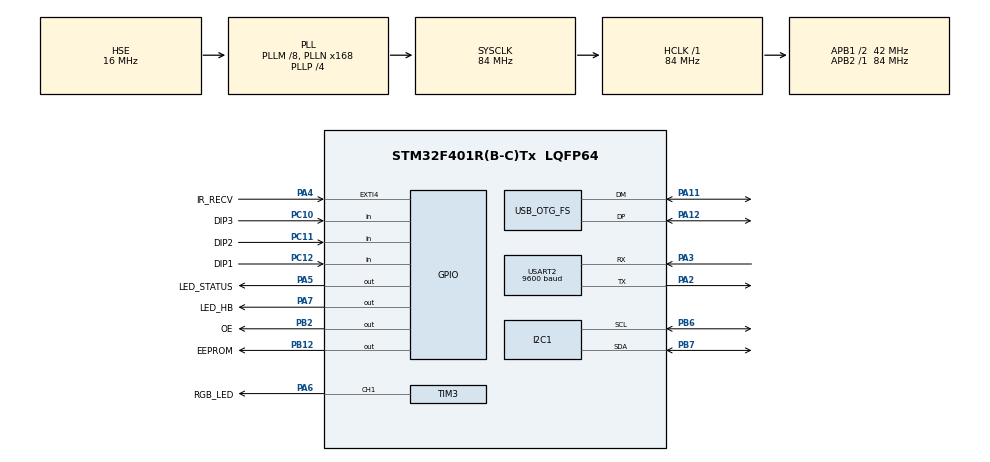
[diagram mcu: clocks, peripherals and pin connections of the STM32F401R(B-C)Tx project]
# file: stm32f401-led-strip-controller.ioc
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Dma.Request0=TIM3_CH1/TRIG
Dma.TIM3_CH1/TRIG.0.Direction=DMA_MEMORY_TO_PERIPH
Dma.TIM3_CH1/TRIG.0.FIFOMode=DMA_FIFOMODE_DISABLE
Dma.TIM3_CH1/TRIG.0.Instance=DMA1_Stream4
Dma.TIM3_CH1/TRIG.0.MemDataAlignment=DMA_MDATAALIGN_HALFWORD
Dma.TIM3_CH1/TRIG.0.MemInc=DMA_MINC_ENABLE
Dma.TIM3_CH1/TRIG.0.Mode=DMA_NORMAL
Dma.TIM3_CH1/TRIG.0.PeriphDataAlignment=DMA_PDATAALIGN_HALFWORD
Dma.TIM3_CH1/TRIG.0.PeriphInc=DMA_PINC_DISABLE
Dma.TIM3_CH1/TRIG.0.Priority=DMA_PRIORITY_HIGH
FREERTOS.Mutexes01=stripShowMutex,Dynamic,NULL
FREERTOS.Tasks01=defaultTask,24,384,StartDefaultTask,Default,NULL,Dynamic,NULL,NULL;heartbeatTask,8,128,StartHeartbeatTask,Default,NULL,Dynamic,NULL,NULL;stripShowTask,32,384,StartStripShowTask,Default,NULL,Dynamic,NULL,NULL
FREERTOS.configUSE_NEWLIB_REENTRANT=1
Mcu.Family=STM32F4
Mcu.Name=STM32F401R(B-C)Tx
Mcu.Package=LQFP64
NVIC.DMA1_Stream4_IRQn=true\:5\:0\:false\:false\:true\:true\:false\:true\:true
NVIC.EXTI4_IRQn=true\:5\:0\:false\:false\:true\:true\:true\:true\:true
NVIC.OTG_FS_IRQn=true\:5\:0\:false\:false\:true\:true\:false\:true\:true
NVIC.PriorityGroup=NVIC_PRIORITYGROUP_4
NVIC.TIM4_IRQn=true\:15\:0\:false\:false\:true\:false\:false\:true\:true
NVIC.TimeBase=TIM4_IRQn
NVIC.TimeBaseIP=TIM4
NVIC.USART2_IRQn=true\:5\:0\:false\:false\:true\:true\:true\:true\:true
PA11.Mode=Device_Only
PA11.Signal=USB_OTG_FS_DM
PA12.Mode=Device_Only
PA12.Signal=USB_OTG_FS_DP
PA13.Mode=Trace_Asynchronous_SW
PA13.Signal=SYS_JTMS-SWDIO
PA14.Mode=Trace_Asynchronous_SW
PA14.Signal=SYS_JTCK-SWCLK
PA2.Mode=Asynchronous
PA2.Signal=USART2_TX
PA3.Mode=Asynchronous
PA3.Signal=USART2_RX
PA4.GPIO_Label=IR_RECV
PA4.GPIO_ModeDefaultEXTI=GPIO_MODE_IT_FALLING
PA4.Signal=GPXTI4
PA5.GPIO_Label=LED_STATUS
PA5.Signal=GPIO_Output
PA6.GPIO_Label=RGB_LED
PA6.Signal=S_TIM3_CH1
PA7.GPIO_Label=LED_HB
PA7.Signal=GPIO_Output
PB12.GPIO_Label=EEPROM
PB12.Signal=GPIO_Output
PB2.GPIO_Label=OE
PB2.Signal=GPIO_Output
PB3.Mode=Trace_Asynchronous_SW
PB3.Signal=SYS_JTDO-SWO
PB6.Mode=I2C
PB6.Signal=I2C1_SCL
PB7.Mode=I2C
PB7.Signal=I2C1_SDA
PC10.GPIO_Label=DIP3
PC10.Signal=GPIO_Input
PC11.GPIO_Label=DIP2
PC11.Signal=GPIO_Input
PC12.GPIO_Label=DIP1
PC12.Signal=GPIO_Input
PC14-OSC32_IN.Mode=LSE-External-Oscillator
PC14-OSC32_IN.Signal=RCC_OSC32_IN
PC15-OSC32_OUT.Mode=LSE-External-Oscillator
PC15-OSC32_OUT.Signal=RCC_OSC32_OUT
PH0\ -\ OSC_IN.Mode=HSE-External-Oscillator
PH0\ -\ OSC_IN.Signal=RCC_OSC_IN
PH1\ -\ OSC_OUT.Mode=HSE-External-Oscillator
PH1\ -\ OSC_OUT.Signal=RCC_OSC_OUT
ProjectManager.HeapSize=0x200
ProjectManager.StackSize=0x400
ProjectManager.TargetToolchain=STM32CubeIDE
RCC.48MHZClocksFreq_Value=48000000
RCC.AHBFreq_Value=84000000
RCC.APB1CLKDivider=RCC_HCLK_DIV2
RCC.APB1Freq_Value=42000000
RCC.APB1TimFreq_Value=84000000
RCC.APB2Freq_Value=84000000
RCC.APB2TimFreq_Value=84000000
RCC.CortexFreq_Value=84000000
RCC.HCLKFreq_Value=84000000
RCC.HSE_VALUE=16000000
RCC.HSI_VALUE=16000000
RCC.PLLM=8
RCC.PLLN=168
RCC.PLLP=RCC_PLLP_DIV4
RCC.PLLQ=7
RCC.RCC_RTC_Clock_SourceVirtual=RCC_RTCCLKSOURCE_LSE
RCC.SYSCLKFreq_VALUE=84000000
RCC.SYSCLKSource=RCC_SYSCLKSOURCE_PLLCLK
RCC.VCOOutputFreq_Value=336000000
SH.S_TIM3_CH1.0=TIM3_CH1,PWM Generation1 CH1
TIM1.Prescaler=84-1
TIM2.Prescaler=84-1
TIM3.Channel-PWM\ Generation1\ CH1=TIM_CHANNEL_1
TIM3.Period=105-1
TIM5.Prescaler=8400-1
USART2.BaudRate=9600
USART2.Mode=MODE_RX
USART2.VirtualMode=VM_ASYNC
USB_DEVICE.CLASS_NAME_FS=CDC
USB_DEVICE.VirtualMode=Cdc
USB_DEVICE.VirtualModeFS=Cdc_FS
USB_OTG_FS.VirtualMode=Device_Only
VP_FREERTOS_VS_CMSIS_V2.Mode=CMSIS_V2
VP_RTC_VS_RTC_Activate.Mode=RTC_Enabled
VP_SYS_VS_tim4.Mode=TIM4
VP_TIM1_VS_ClockSourceINT.Mode=Internal
VP_TIM2_VS_ClockSourceINT.Mode=Internal
VP_TIM3_VS_ClockSourceINT.Mode=Internal
VP_TIM5_VS_ClockSourceINT.Mode=Internal
VP_USB_DEVICE_VS_USB_DEVICE_CDC_FS.Mode=CDC_FS
board=custom

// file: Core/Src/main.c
/* USER CODE BEGIN Header */
/**
  ******************************************************************************
  * @file           : main.c
  * @author         : Joshua Butler, MD, MHI
  * @date           : 2023-07-02
  * @brief          : Main program body
  ******************************************************************************
  * @attention
  *
  * Copyright (c) 2023 STMicroelectronics.
  * Copyright (c) 2023 Joshua Butler.
  * All rights reserved.
  *
  * This software is licensed under terms that can be found in the LICENSE file
  * in the root directory of this software component.
  * If no LICENSE file comes with this software, it is provided AS-IS.
  *
  ******************************************************************************
  */
/* USER CODE END Header */
#include "main.h"
#include "cmsis_os.h"
#include "usb_device.h"

/* USER CODE BEGIN Includes */
#include "splash.h"
#include "led_strip.h"
#include "ssd1306.h"
#include "ring_buffer.h"
#include "i2c_wrapper.h"
#include "pcf8563.h"
#include "eeprom.h"
#include "ir_codes.h"
#include "led_strip_effect.h"

/* USER CODE END Includes */

/* USER CODE BEGIN PD */

// ring buffer size
#define CODE_BUFFER_SIZE 8
#define UART_RX_BUFFER_SIZE 256
#define IR_REMOTE_BUFFER_SIZE 16

// EEPROM Defines
#define EEPROM_SETTINGS_PAGE 0x00
#define EEPROM_SETTINGS_OFFSET 0x00

/* USER CODE END PD */

I2C_HandleTypeDef hi2c1;

RTC_HandleTypeDef hrtc;

TIM_HandleTypeDef htim1;
TIM_HandleTypeDef htim2;
TIM_HandleTypeDef htim3;
TIM_HandleTypeDef htim5;
DMA_HandleTypeDef hdma_tim3_ch1_trig;

UART_HandleTypeDef huart2;

/* Definitions for defaultTask */
osThreadId_t defaultTaskHandle;
const osThreadAttr_t defaultTask_attributes = {
    .name = "defaultTask",
    .stack_size = 384 * 4,
    .priority = (osPriority_t) osPriorityNormal,
};
/* Definitions for heartbeatTask */
osThreadId_t heartbeatTaskHandle;
const osThreadAttr_t heartbeatTask_attributes = {
    .name = "heartbeatTask",
    .stack_size = 128 * 4,
    .priority = (osPriority_t) osPriorityLow,
};
/* Definitions for stripShowTask */
osThreadId_t stripShowTaskHandle;
const osThreadAttr_t stripShowTask_attributes = {
    .name = "stripShowTask",
    .stack_size = 384 * 4,
    .priority = (osPriority_t) osPriorityAboveNormal,
};
/* Definitions for stripShowMutex */
osMutexId_t stripShowMutexHandle;
const osMutexAttr_t stripShowMutex_attributes = {
    .name = "stripShowMutex"
};
/* USER CODE BEGIN PV */

// External Variables
extern uint8_t gradient_palettes_list_size;

// data buffer

char lcd_buffer[64];

// LED Strip
uint8_t current_num_leds = 64;
led_strip_t led_strip;
led_strip_effect_t led_fx;
uint8_t led_fx_ready = 0;
uint8_t power_state = 1;

// IR Remote

uint32_t tempCode;
uint8_t bitIndex;
uint8_t cmd;
uint8_t cmdli;
uint32_t code;
uint32_t prevCode;
uint8_t codeReady;
uint32_t codeCmd;
uint8_t startIR;
uint8_t repeatCode;
uint8_t potentialRepeatCode;
uint8_t repeatCodeCount;
RingBuffer codeBuffer;

// UART
RingBuffer uartRxBuffer;
uint8_t uartRxData[2] = { 0 };

/* USER CODE END PV */

void SystemClock_Config(void);
static void MX_GPIO_Init(void);
static void MX_DMA_Init(void);
static void MX_RTC_Init(void);
static void MX_TIM2_Init(void);
static void MX_TIM3_Init(void);
static void MX_USART2_UART_Init(void);
static void MX_I2C1_Init(void);
static void MX_TIM1_Init(void);
static void MX_TIM5_Init(void);
void StartDefaultTask(void *argument);
void StartHeartbeatTask(void *argument);
void StartStripShowTask(void *argument);

int main(void)
{

    /* MCU Configuration--------------------------------------------------------*/

    /* Reset of all peripherals, Initializes the Flash interface and the Systick. */
    HAL_Init();

    /* Configure the system clock */
    SystemClock_Config();

    /* Initialize all configured peripherals */
    MX_GPIO_Init();
    MX_DMA_Init();
    MX_RTC_Init();
    MX_TIM2_Init();
    MX_TIM3_Init();
    MX_USART2_UART_Init();
    MX_I2C1_Init();
    MX_TIM1_Init();
    MX_TIM5_Init();
    /* USER CODE BEGIN 2 */

    HAL_RTC_Init(&hrtc);
    __HAL_RTC_WRITEPROTECTION_DISABLE(&hrtc);
    HAL_RTC_WaitForSynchro(&hrtc);
    __HAL_RTC_WRITEPROTECTION_ENABLE(&hrtc);

    if (ring_buffer_init(&uartRxBuffer, UART_RX_BUFFER_SIZE, sizeof(uint8_t)) == RING_BUFFER_MALLOC_FAILED) {
        Error_Handler();
    }

    if (ring_buffer_init(&codeBuffer, IR_REMOTE_BUFFER_SIZE, sizeof(uint32_t)) == RING_BUFFER_MALLOC_FAILED) {
        Error_Handler();
    }

    HAL_TIM_Base_Start(&htim1);
    HAL_TIM_Base_Start(&htim2);
    HAL_TIM_Base_Start(&htim5);

    __HAL_TIM_SET_COUNTER(&htim2, 0);

    HAL_GPIO_WritePin(OE_GPIO_Port, OE_Pin, GPIO_PIN_RESET);
    /* USER CODE END 2 */

    /* Init scheduler */
    osKernelInitialize();
    /* Create the mutex(es) */
    /* creation of stripShowMutex */
    stripShowMutexHandle = osMutexNew(&stripShowMutex_attributes);

    /* Create the thread(s) */
    /* creation of defaultTask */
    defaultTaskHandle = osThreadNew(StartDefaultTask, NULL, &defaultTask_attributes);

    /* creation of heartbeatTask */
    heartbeatTaskHandle = osThreadNew(StartHeartbeatTask, NULL, &heartbeatTask_attributes);

    /* creation of stripShowTask */
    stripShowTaskHandle = osThreadNew(StartStripShowTask, NULL, &stripShowTask_attributes);

    /* Start scheduler */
    osKernelStart();
    /* We should never get here as control is now taken by the scheduler */
    /* Infinite loop */
    while (1)
    {

    }
}

void SystemClock_Config(void)
{
    RCC_OscInitTypeDef RCC_OscInitStruct = { 0 };
    RCC_ClkInitTypeDef RCC_ClkInitStruct = { 0 };

    /** Configure the main internal regulator output voltage
    */
    __HAL_RCC_PWR_CLK_ENABLE();
    __HAL_PWR_VOLTAGESCALING_CONFIG(PWR_REGULATOR_VOLTAGE_SCALE2);

    /** Initializes the RCC Oscillators according to the specified parameters
    * in the RCC_OscInitTypeDef structure.
    */
    RCC_OscInitStruct.OscillatorType = RCC_OSCILLATORTYPE_HSE | RCC_OSCILLATORTYPE_LSE;
    RCC_OscInitStruct.HSEState = RCC_HSE_ON;
    RCC_OscInitStruct.LSEState = RCC_LSE_ON;
    RCC_OscInitStruct.PLL.PLLState = RCC_PLL_ON;
    RCC_OscInitStruct.PLL.PLLSource = RCC_PLLSOURCE_HSE;
    RCC_OscInitStruct.PLL.PLLM = 8;
    RCC_OscInitStruct.PLL.PLLN = 168;
    RCC_OscInitStruct.PLL.PLLP = RCC_PLLP_DIV4;
    RCC_OscInitStruct.PLL.PLLQ = 7;
    if (HAL_RCC_OscConfig(&RCC_OscInitStruct) != HAL_OK)
    {
        Error_Handler();
    }

    /** Initializes the CPU, AHB and APB buses clocks
    */
    RCC_ClkInitStruct.ClockType = RCC_CLOCKTYPE_HCLK | RCC_CLOCKTYPE_SYSCLK
                                | RCC_CLOCKTYPE_PCLK1 | RCC_CLOCKTYPE_PCLK2;
    RCC_ClkInitStruct.SYSCLKSource = RCC_SYSCLKSOURCE_PLLCLK;
    RCC_ClkInitStruct.AHBCLKDivider = RCC_SYSCLK_DIV1;
    RCC_ClkInitStruct.APB1CLKDivider = RCC_HCLK_DIV2;
    RCC_ClkInitStruct.APB2CLKDivider = RCC_HCLK_DIV1;

    if (HAL_RCC_ClockConfig(&RCC_ClkInitStruct, FLASH_LATENCY_2) != HAL_OK)
    {
        Error_Handler();
    }
}

static void MX_I2C1_Init(void)
{

    hi2c1.Instance = I2C1;
    hi2c1.Init.ClockSpeed = 100000;
    hi2c1.Init.DutyCycle = I2C_DUTYCYCLE_2;
    hi2c1.Init.OwnAddress1 = 0;
    hi2c1.Init.AddressingMode = I2C_ADDRESSINGMODE_7BIT;
    hi2c1.Init.DualAddressMode = I2C_DUALADDRESS_DISABLE;
    hi2c1.Init.OwnAddress2 = 0;
    hi2c1.Init.GeneralCallMode = I2C_GENERALCALL_DISABLE;
    hi2c1.Init.NoStretchMode = I2C_NOSTRETCH_DISABLE;
    if (HAL_I2C_Init(&hi2c1) != HAL_OK)
    {
        Error_Handler();
    }

}

static void MX_RTC_Init(void)
{

    /** Initialize RTC Only
    */
    hrtc.Instance = RTC;
    hrtc.Init.HourFormat = RTC_HOURFORMAT_24;
    hrtc.Init.AsynchPrediv = 127;
    hrtc.Init.SynchPrediv = 255;
    hrtc.Init.OutPut = RTC_OUTPUT_DISABLE;
    hrtc.Init.OutPutPolarity = RTC_OUTPUT_POLARITY_HIGH;
    hrtc.Init.OutPutType = RTC_OUTPUT_TYPE_OPENDRAIN;
    if (HAL_RTC_Init(&hrtc) != HAL_OK)
    {
        Error_Handler();
    }

}

static void MX_TIM1_Init(void)
{

    TIM_ClockConfigTypeDef sClockSourceConfig = { 0 };
    TIM_MasterConfigTypeDef sMasterConfig = { 0 };

    htim1.Instance = TIM1;
    htim1.Init.Prescaler = 84 - 1;
    htim1.Init.CounterMode = TIM_COUNTERMODE_UP;
    htim1.Init.Period = 65535;
    htim1.Init.ClockDivision = TIM_CLOCKDIVISION_DIV1;
    htim1.Init.RepetitionCounter = 0;
    htim1.Init.AutoReloadPreload = TIM_AUTORELOAD_PRELOAD_DISABLE;
    if (HAL_TIM_Base_Init(&htim1) != HAL_OK)
    {
        Error_Handler();
    }
    sClockSourceConfig.ClockSource = TIM_CLOCKSOURCE_INTERNAL;
    if (HAL_TIM_ConfigClockSource(&htim1, &sClockSourceConfig) != HAL_OK)
    {
        Error_Handler();
    }
    sMasterConfig.MasterOutputTrigger = TIM_TRGO_RESET;
    sMasterConfig.MasterSlaveMode = TIM_MASTERSLAVEMODE_DISABLE;
    if (HAL_TIMEx_MasterConfigSynchronization(&htim1, &sMasterConfig) != HAL_OK)
    {
        Error_Handler();
    }

}

static void MX_TIM2_Init(void)
{

    TIM_ClockConfigTypeDef sClockSourceConfig = { 0 };
    TIM_MasterConfigTypeDef sMasterConfig = { 0 };

    htim2.Instance = TIM2;
    htim2.Init.Prescaler = 84 - 1;
    htim2.Init.CounterMode = TIM_COUNTERMODE_UP;
    htim2.Init.Period = 4294967295;
    htim2.Init.ClockDivision = TIM_CLOCKDIVISION_DIV1;
    htim2.Init.AutoReloadPreload = TIM_AUTORELOAD_PRELOAD_DISABLE;
    if (HAL_TIM_Base_Init(&htim2) != HAL_OK)
    {
        Error_Handler();
    }
    sClockSourceConfig.ClockSource = TIM_CLOCKSOURCE_INTERNAL;
    if (HAL_TIM_ConfigClockSource(&htim2, &sClockSourceConfig) != HAL_OK)
    {
        Error_Handler();
    }
    sMasterConfig.MasterOutputTrigger = TIM_TRGO_RESET;
    sMasterConfig.MasterSlaveMode = TIM_MASTERSLAVEMODE_DISABLE;
    if (HAL_TIMEx_MasterConfigSynchronization(&htim2, &sMasterConfig) != HAL_OK)
    {
        Error_Handler();
    }

}

static void MX_TIM3_Init(void)
{

    TIM_ClockConfigTypeDef sClockSourceConfig = { 0 };
    TIM_MasterConfigTypeDef sMasterConfig = { 0 };
    TIM_OC_InitTypeDef sConfigOC = { 0 };

    htim3.Instance = TIM3;
    htim3.Init.Prescaler = 0;
    htim3.Init.CounterMode = TIM_COUNTERMODE_UP;
    htim3.Init.Period = 105 - 1;
    htim3.Init.ClockDivision = TIM_CLOCKDIVISION_DIV1;
    htim3.Init.AutoReloadPreload = TIM_AUTORELOAD_PRELOAD_DISABLE;
    if (HAL_TIM_Base_Init(&htim3) != HAL_OK)
    {
        Error_Handler();
    }
    sClockSourceConfig.ClockSource = TIM_CLOCKSOURCE_INTERNAL;
    if (HAL_TIM_ConfigClockSource(&htim3, &sClockSourceConfig) != HAL_OK)
    {
        Error_Handler();
    }
    if (HAL_TIM_PWM_Init(&htim3) != HAL_OK)
    {
        Error_Handler();
    }
    sMasterConfig.MasterOutputTrigger = TIM_TRGO_RESET;
    sMasterConfig.MasterSlaveMode = TIM_MASTERSLAVEMODE_DISABLE;
    if (HAL_TIMEx_MasterConfigSynchronization(&htim3, &sMasterConfig) != HAL_OK)
    {
        Error_Handler();
    }
    sConfigOC.OCMode = TIM_OCMODE_PWM1;
    sConfigOC.Pulse = 0;
    sConfigOC.OCPolarity = TIM_OCPOLARITY_HIGH;
    sConfigOC.OCFastMode = TIM_OCFAST_DISABLE;
    if (HAL_TIM_PWM_ConfigChannel(&htim3, &sConfigOC, TIM_CHANNEL_1) != HAL_OK)
    {
        Error_Handler();
    }
    HAL_TIM_MspPostInit(&htim3);

}

static void MX_TIM5_Init(void)
{

    TIM_ClockConfigTypeDef sClockSourceConfig = { 0 };
    TIM_MasterConfigTypeDef sMasterConfig = { 0 };

    htim5.Instance = TIM5;
    htim5.Init.Prescaler = 8400 - 1;
    htim5.Init.CounterMode = TIM_COUNTERMODE_UP;
    htim5.Init.Period = 4294967295;
    htim5.Init.ClockDivision = TIM_CLOCKDIVISION_DIV1;
    htim5.Init.AutoReloadPreload = TIM_AUTORELOAD_PRELOAD_DISABLE;
    if (HAL_TIM_Base_Init(&htim5) != HAL_OK)
    {
        Error_Handler();
    }
    sClockSourceConfig.ClockSource = TIM_CLOCKSOURCE_INTERNAL;
    if (HAL_TIM_ConfigClockSource(&htim5, &sClockSourceConfig) != HAL_OK)
    {
        Error_Handler();
    }
    sMasterConfig.MasterOutputTrigger = TIM_TRGO_RESET;
    sMasterConfig.MasterSlaveMode = TIM_MASTERSLAVEMODE_DISABLE;
    if (HAL_TIMEx_MasterConfigSynchronization(&htim5, &sMasterConfig) != HAL_OK)
    {
        Error_Handler();
    }

}

static void MX_USART2_UART_Init(void)
{

    huart2.Instance = USART2;
    huart2.Init.BaudRate = 9600;
    huart2.Init.WordLength = UART_WORDLENGTH_8B;
    huart2.Init.StopBits = UART_STOPBITS_1;
    huart2.Init.Parity = UART_PARITY_NONE;
    huart2.Init.Mode = UART_MODE_RX;
    huart2.Init.HwFlowCtl = UART_HWCONTROL_NONE;
    huart2.Init.OverSampling = UART_OVERSAMPLING_16;
    if (HAL_UART_Init(&huart2) != HAL_OK)
    {
        Error_Handler();
    }

}

static void MX_DMA_Init(void)
{

    /* DMA controller clock enable */
    __HAL_RCC_DMA1_CLK_ENABLE();

    /* DMA interrupt init */
    /* DMA1_Stream4_IRQn interrupt configuration */
    HAL_NVIC_SetPriority(DMA1_Stream4_IRQn, 5, 0);
    HAL_NVIC_EnableIRQ(DMA1_Stream4_IRQn);

}

static void MX_GPIO_Init(void)
{
    GPIO_InitTypeDef GPIO_InitStruct = { 0 };

      /* GPIO Ports Clock Enable */
    __HAL_RCC_GPIOC_CLK_ENABLE();
    __HAL_RCC_GPIOH_CLK_ENABLE();
    __HAL_RCC_GPIOA_CLK_ENABLE();
    __HAL_RCC_GPIOB_CLK_ENABLE();

    /*Configure GPIO pin Output Level */
    HAL_GPIO_WritePin(GPIOA, LED_STATUS_Pin | LED_HB_Pin, GPIO_PIN_RESET);

    /*Configure GPIO pin Output Level */
    HAL_GPIO_WritePin(GPIOB, OE_Pin | EEPROM_Pin, GPIO_PIN_RESET);

    /*Configure GPIO pin : IR_RECV_Pin */
    GPIO_InitStruct.Pin = IR_RECV_Pin;
    GPIO_InitStruct.Mode = GPIO_MODE_IT_FALLING;
    GPIO_InitStruct.Pull = GPIO_NOPULL;
    HAL_GPIO_Init(IR_RECV_GPIO_Port, &GPIO_InitStruct);

    /*Configure GPIO pins : LED_STATUS_Pin LED_HB_Pin */
    GPIO_InitStruct.Pin = LED_STATUS_Pin | LED_HB_Pin;
    GPIO_InitStruct.Mode = GPIO_MODE_OUTPUT_PP;
    GPIO_InitStruct.Pull = GPIO_NOPULL;
    GPIO_InitStruct.Speed = GPIO_SPEED_FREQ_LOW;
    HAL_GPIO_Init(GPIOA, &GPIO_InitStruct);

    /*Configure GPIO pins : OE_Pin EEPROM_Pin */
    GPIO_InitStruct.Pin = OE_Pin | EEPROM_Pin;
    GPIO_InitStruct.Mode = GPIO_MODE_OUTPUT_PP;
    GPIO_InitStruct.Pull = GPIO_NOPULL;
    GPIO_InitStruct.Speed = GPIO_SPEED_FREQ_LOW;
    HAL_GPIO_Init(GPIOB, &GPIO_InitStruct);

    /*Configure GPIO pins : DIP3_Pin DIP2_Pin DIP1_Pin */
    GPIO_InitStruct.Pin = DIP3_Pin | DIP2_Pin | DIP1_Pin;
    GPIO_InitStruct.Mode = GPIO_MODE_INPUT;
    GPIO_InitStruct.Pull = GPIO_NOPULL;
    HAL_GPIO_Init(GPIOC, &GPIO_InitStruct);

    /* EXTI interrupt init*/
    HAL_NVIC_SetPriority(EXTI4_IRQn, 5, 0);
    HAL_NVIC_EnableIRQ(EXTI4_IRQn);

}

/* USER CODE BEGIN 4 */
void HAL_GPIO_EXTI_Callback(uint16_t GPIO_Pin)
{
    static int counter;
    if (GPIO_Pin == IR_RECV_Pin) {

        counter = (int)__HAL_TIM_GET_COUNTER(&htim2);
        __HAL_TIM_SET_COUNTER(&htim2, 0);
        // HAL_GPIO_TogglePin(LED_STATUS_GPIO_Port, LED_STATUS_Pin);

        if (counter > 11000 && counter < 100000 && potentialRepeatCode && startIR && prevCode) {
            repeatCodeCount++;

            codeCmd = prevCode;
            // ignore first two repeat codes and send every other repeat code
            if (repeatCodeCount > 2 && repeatCodeCount % 2 == 0) {
                repeatCode = 1;
                ring_buffer_enqueue(&codeBuffer, (void *)&codeCmd);
            }
        }
        else if (counter > 13000) {
            tempCode = 0;
            bitIndex = 0;
            startIR = 1;
            repeatCode = 0;
            potentialRepeatCode = 1;
            repeatCodeCount = 0;
            prevCode = codeCmd;
        }
        else if (counter > 1700) {
            tempCode |= (1UL << (31 - bitIndex)); // write 1
            bitIndex++;
            potentialRepeatCode = 0;
        }
        else if (counter > 1000) {
            tempCode &= ~(1UL << (31 - bitIndex)); // write 0
            bitIndex++;
            potentialRepeatCode = 0;
        }
        if (bitIndex == 32) {
            cmdli = ~tempCode; // Logical inversion last 8 bits
            cmd = tempCode >> 8; // Second last 8 bits
            if (cmdli == cmd) {
                code = tempCode;
                codeCmd = code;
                ring_buffer_enqueue(&codeBuffer, (void *)&codeCmd);
                // HAL_GPIO_WritePin(LED_UI_GPIO_Port, LED_UI_Pin, GPIO_PIN_RESET);
            }
            else {
                codeCmd = 0xFFFFFFFF;
            }
            bitIndex = 0;
            startIR = 0;
        }

        // HAL_GPIO_TogglePin(LED_STATUS_GPIO_Port, LED_STATUS_Pin);
    }
}

void HAL_UART_RxCpltCallback(UART_HandleTypeDef *huart)
{
    ring_buffer_enqueue(&uartRxBuffer, (void *)uartRxData);
    HAL_UART_Receive_IT(&huart2, uartRxData, 1);
}

void HAL_TIM_PWM_PulseFinishedCallback(TIM_HandleTypeDef *htim)
{
    HAL_TIM_PWM_Stop_DMA(&htim3, TIM_CHANNEL_1);
    led_strip.data_sent_flag = 1;
}
/* USER CODE END 4 */

void StartDefaultTask(void *argument)
{
    /* init code for USB_DEVICE */
    MX_USB_DEVICE_Init();
    /* USER CODE BEGIN 5 */

    char fx_name_buffer[25] = "";
    osStatus_t os_status;
    uint8_t current_brightness = 25;
    uint8_t current_fx = 0;
    uint8_t prev_fx = 0;
    uint8_t has_fx_changed = 0;
    uint32_t remote_cmd = 0;
    uint8_t need_update = 0;
    uint8_t power_update = 0;
    uint8_t prev_gradient = 0;
    uint8_t memory_gradient = 0;

    struct {
        uint8_t red;
        uint8_t green;
        uint8_t blue;
    } current_color;

    current_color.red = 128;
    current_color.green = 0;
    current_color.blue = 0;

    RTC_TimeTypeDef sTime = {0};
    RTC_DateTypeDef sDate = {0};

    uint8_t use_external_rtc = HAL_GPIO_ReadPin(DIP1_GPIO_Port, DIP1_Pin) == GPIO_PIN_SET ? 1 : 0;

    led_strip_error_t led_strip_error;
    uint8_t sacrifical_led_flag = HAL_GPIO_ReadPin(DIP2_GPIO_Port, DIP2_Pin) == GPIO_PIN_SET ? 1 : 0;

    led_strip_error = led_strip_init(&led_strip, &htim3, TIM_CHANNEL_1, htim3.Init.Period, 100, sacrifical_led_flag);
    if (led_strip_error != LED_STRIP_OK) {
        Error_Handler();
    }

    led_strip.data_sent_flag = 1;
    led_strip.num_leds = current_num_leds;
    led_strip.sacrificial_led_flag = sacrifical_led_flag;

    // Splash screen
    splash(&led_strip);

    // Initialize LED Effects
    led_strip_effect_error_t led_fx_error = led_strip_effect_init(&led_fx, &led_strip, current_num_leds);
    if (led_fx_error != LED_STRIP_EFFECT_OK) {
        Error_Handler();
    }

    for (int i = 0; i < 5; i--)
    {
        os_status = osMutexAcquire(stripShowMutexHandle, 2000);
        if (os_status == osErrorTimeout) {
            Error_Handler();
        } else if (os_status == osOK) {
            led_fx.effect_id = 0;
            led_fx.solid_color = 0x00007F00; // Red
            led_fx.brightness = current_brightness;
            break;
        }
    }
    osMutexRelease(stripShowMutexHandle);

    led_fx_ready = 1;

    fx_get_name(fx_name_buffer, current_fx, 12);
    ssd1306_Fill(Black);
    ssd1306_SetCursor(0, 0);
    ssd1306_WriteStringCenteredHorizonal(fx_name_buffer, Font_11x18, White);
    ssd1306_UpdateScreen();

      /* Infinite loop */
    for (;;)
    {
        if (!is_ring_buffer_empty(&codeBuffer)) {
            ring_buffer_dequeue(&codeBuffer, &remote_cmd);

            switch (remote_cmd)
            {
            case IR_BPlus:
                current_brightness += 1;
                if (current_brightness > 45) current_brightness = 45;
                need_update = 1;
                break;
            case IR_BMinus:
                current_brightness -= 1;
                if (current_brightness > 45) current_brightness = 0;
                need_update = 1;
                break;
            case IR_UPR:
                current_color.red++;
                if (current_color.red > 128) current_color.red = 128;
                need_update = 1;
                break;
            case IR_UPG:
                current_color.green++;
                if (current_color.green > 128) current_color.green = 128;
                need_update = 1;
                break;
            case IR_UPB:
                if (led_fx.has_gradient) {
                    memory_gradient++;
                    if (memory_gradient > gradient_palettes_list_size) memory_gradient = 0;
                } else {
                    current_color.blue++;
                    if (current_color.blue > 128) current_color.blue = 128;
                }
                need_update = 1;
                break;
            case IR_DOWNR:
                current_color.red--;
                if (current_color.red < 0) current_color.red = 0;
                need_update = 1;
                break;
            case IR_DOWNG:
                current_color.green--;
                if (current_color.green < 0) current_color.green = 0;
                need_update = 1;
                break;
            case IR_DOWNB:
                if (led_fx.has_gradient) {
                    memory_gradient--;
                    if (memory_gradient == 255) memory_gradient = gradient_palettes_list_size;
                } else {
                    current_color.blue--;
                    if (current_color.blue < 0) current_color.blue = 0;
                }
                need_update = 1;
                break;
            case IR_PLAY:
                prev_fx = current_fx;
                current_fx++;
                if (current_fx >= NBR_FX) current_fx = 0;
                has_fx_changed = 1;
                break;
            case IR_QUICK:
                if (led_fx.is_loop) {
                    led_fx.delay_time -= 20;
                    if (led_fx.delay_time < 50) led_fx.delay_time = 50;
                }
                break;
            case IR_SLOW:
                if (led_fx.is_loop) {
                    led_fx.delay_time += 20;
                    if (led_fx.delay_time > 1000) led_fx.delay_time = 1000;
                }
                break;
            case IR_PWR:
                power_update = 1;
                power_state = !power_state;
                break;
            default:
                sprintf(lcd_buffer, "Code: %0X     ", (unsigned int)remote_cmd);
                ssd1306_SetCursor(5, 20);
                ssd1306_WriteString(lcd_buffer, Font_7x10, White);
                ssd1306_UpdateScreen();
                osDelay(3000);
                break;
            }
        }
        if (!power_state && power_update) {
            power_update = 0;
            HAL_GPIO_WritePin(LED_STATUS_GPIO_Port, LED_STATUS_Pin, GPIO_PIN_RESET);
            ssd1306_SetDisplayOn(0);
            led_strip_set_brightness(&led_strip, 0);
            led_strip_WS2812_send(&led_strip);
        } else if (power_state && power_update) {
            power_update = 0;
            HAL_GPIO_WritePin(LED_STATUS_GPIO_Port, LED_STATUS_Pin, GPIO_PIN_SET);
            ssd1306_SetDisplayOn(1);
            led_strip_set_brightness(&led_strip, current_brightness);
            led_strip_WS2812_send(&led_strip);
            need_update = 1;
        }
        if (led_fx.has_gradient && led_fx.gradient_id != prev_gradient) {
            led_fx.gradient_id = memory_gradient;
            fx_get_gradient_name(fx_name_buffer, led_fx.gradient_id, 18);
            ssd1306_SetCursor(0, 20);
            ssd1306_ClearLine(20, Font_7x10);
            ssd1306_SetCursor(0, 20);
            ssd1306_WriteStringCenteredHorizonal(fx_name_buffer, Font_7x10, White);
            ssd1306_UpdateScreen();
            prev_gradient = led_fx.gradient_id;
        } else if (!led_fx.has_gradient && led_fx.gradient_id != prev_gradient && !led_fx.need_update) {
            ssd1306_SetCursor(0, 20);
            ssd1306_ClearLine(20, Font_7x10);
            ssd1306_UpdateScreen();
            prev_gradient = led_fx.gradient_id;
        }
        if (need_update || has_fx_changed) {
            need_update = 0;
            os_status = osMutexAcquire(stripShowMutexHandle, 2000);
            if (os_status == osErrorTimeout) {
                Error_Handler();
            }
            else if (os_status == osOK) {
                if (has_fx_changed) {
                    has_fx_changed = 0;
                    prev_gradient = 0xFF;
                    led_fx.gradient_id = memory_gradient;
                    fx_get_name(fx_name_buffer, current_fx, 12);
                    ssd1306_SetCursor(0, 0);
                    ssd1306_ClearLine(0, Font_11x18);
                    ssd1306_SetCursor(0, 0);
                    ssd1306_WriteStringCenteredHorizonal(fx_name_buffer, Font_11x18, White);
                    ssd1306_UpdateScreen();
                    led_fx.effect_id = current_fx;
                    led_fx.initialized = 0;
                    led_fx.need_update = 1;
                }
                else {
                    led_fx.solid_color = ((uint32_t)current_color.green << 16) | ((uint32_t)current_color.red << 8) | (uint32_t)current_color.blue;
                    led_fx.brightness = current_brightness;
                    led_fx.gradient_id = memory_gradient;
                    led_fx.need_update = 1;
                }
            }
            osMutexRelease(stripShowMutexHandle);
        } else
        osDelay(50);
    }
    /* USER CODE END 5 */
}

void StartHeartbeatTask(void *argument)
{
    /* USER CODE BEGIN StartHeartbeatTask */
      /* Infinite loop */
    for (;;)
    {
        HAL_GPIO_TogglePin(LED_HB_GPIO_Port, LED_HB_Pin);
        osDelay(1000);
    }
    /* USER CODE END StartHeartbeatTask */
}

void StartStripShowTask(void *argument)
{
    osStatus_t os_status;

    /* USER CODE BEGIN StartStripShowTask */
    while (!led_fx_ready) {
        osDelay(5);
    }

    /* Infinite loop */
    for (;;) {
        if (power_state) {
            HAL_GPIO_TogglePin(LED_STATUS_GPIO_Port, LED_STATUS_Pin);
            if (!led_fx.initialized || led_fx.need_update || led_fx.is_loop) {
                os_status = osMutexAcquire(stripShowMutexHandle, 2000);
                fx_update(&led_fx);
                osMutexRelease(stripShowMutexHandle);
            }
            if (led_fx.is_loop) {
                osDelay(led_fx.delay_time);
            }
            else {
                osDelay(500);
            }
        } else {
            osDelay(500);
        }
    }
    /* USER CODE END StartStripShowTask */
}

void HAL_TIM_PeriodElapsedCallback(TIM_HandleTypeDef *htim)
{
    if (htim->Instance == TIM4) {
        HAL_IncTick();
    }
}

void Error_Handler(void)
{
    /* USER CODE BEGIN Error_Handler_Debug */
      /* User can add his own implementation to report the HAL error return state */
    __disable_irq();

    ssd1306_Fill(Black);
    ssd1306_SetCursor(3, 7);
    ssd1306_WriteString("FATAL ERROR", Font_11x18, White);
    ssd1306_UpdateScreen();

    while (1)
    {
        int i;
        HAL_GPIO_TogglePin(LED_STATUS_GPIO_Port, LED_STATUS_Pin);
        for (i = 0; i < 2000000; i++) { __NOP(); }
        HAL_GPIO_TogglePin(LED_STATUS_GPIO_Port, LED_STATUS_Pin);
        for (i = 0; i < 2000000; i++) { __NOP(); }
        HAL_GPIO_TogglePin(LED_STATUS_GPIO_Port, LED_STATUS_Pin);
        for (i = 0; i < 2000000; i++) { __NOP(); }
        HAL_GPIO_TogglePin(LED_STATUS_GPIO_Port, LED_STATUS_Pin);
        for (i = 0; i < 8000000; i++) { __NOP(); }
    }
    /* USER CODE END Error_Handler_Debug */
}
